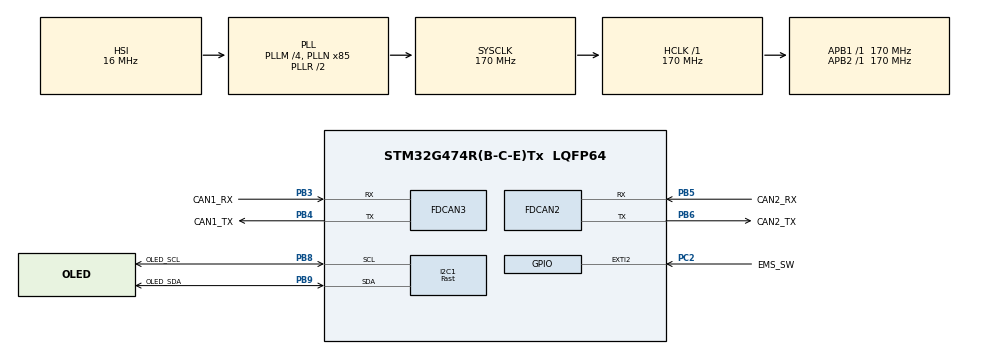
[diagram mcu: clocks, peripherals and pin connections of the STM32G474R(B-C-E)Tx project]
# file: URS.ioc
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FDCAN2.AutoRetransmission=ENABLE
FDCAN2.CalculateBaudRateNominal=1000000
FDCAN2.CalculateTimeBitNominal=1000
FDCAN2.CalculateTimeQuantumNominal=58.8235294117647
FDCAN2.ClockDivider=FDCAN_CLOCK_DIV1
FDCAN2.DataPrescaler=10
FDCAN2.DataSyncJumpWidth=3
FDCAN2.DataTimeSeg1=13
FDCAN2.DataTimeSeg2=3
FDCAN2.ExtFiltersNbr=0
FDCAN2.FrameFormat=FDCAN_FRAME_CLASSIC
FDCAN2.Mode=FDCAN_MODE_NORMAL
FDCAN2.NominalPrescaler=10
FDCAN2.NominalSyncJumpWidth=3
FDCAN2.NominalTimeSeg1=13
FDCAN2.NominalTimeSeg2=3
FDCAN2.ProtocolException=DISABLE
FDCAN2.StdFiltersNbr=8
FDCAN2.TransmitPause=ENABLE
FDCAN2.TxFifoQueueMode=FDCAN_TX_FIFO_OPERATION
FDCAN3.AutoRetransmission=ENABLE
FDCAN3.CalculateBaudRateNominal=1000000
FDCAN3.CalculateTimeBitNominal=1000
FDCAN3.CalculateTimeQuantumNominal=58.8235294117647
FDCAN3.ClockDivider=FDCAN_CLOCK_DIV1
FDCAN3.DataPrescaler=10
FDCAN3.DataSyncJumpWidth=3
FDCAN3.DataTimeSeg1=13
FDCAN3.DataTimeSeg2=3
FDCAN3.ExtFiltersNbr=0
FDCAN3.FrameFormat=FDCAN_FRAME_CLASSIC
FDCAN3.Mode=FDCAN_MODE_NORMAL
FDCAN3.NominalPrescaler=10
FDCAN3.NominalSyncJumpWidth=3
FDCAN3.NominalTimeSeg1=13
FDCAN3.NominalTimeSeg2=3
FDCAN3.ProtocolException=DISABLE
FDCAN3.StdFiltersNbr=8
FDCAN3.TransmitPause=ENABLE
FDCAN3.TxFifoQueueMode=FDCAN_TX_FIFO_OPERATION
I2C1.AddressingMode=I2C_ADDRESSINGMODE_7BIT
I2C1.Analog_Filter=I2C_ANALOGFILTER_ENABLE
I2C1.CustomTiming=Enabled
I2C1.DualAddressMode=I2C_DUALADDRESS_DISABLE
I2C1.GeneralCallMode=I2C_GENERALCALL_DISABLE
I2C1.I2C_Speed_Mode=I2C_Fast
I2C1.NoStretchMode=I2C_NOSTRETCH_DISABLE
I2C1.OwnAddress=0
I2C1.Speed=400
I2C1.Timing=0x00C0216C
Mcu.Family=STM32G4
Mcu.Name=STM32G474R(B-C-E)Tx
Mcu.Package=LQFP64
NUCLEO-G474RE.BUTTON=1
NUCLEO-G474RE.Bsp_Common_DEMO=true
NUCLEO-G474RE.LD2=true
NUCLEO-G474RE.VCP=true
NVIC.EXTI2_IRQn=true\:0\:0\:false\:false\:true\:true\:true\:true
NVIC.EXTI15_10_IRQn=true\:0\:0\:false\:false\:true\:false\:true\:true
NVIC.FDCAN2_IT0_IRQn=true\:1\:0\:false\:false\:true\:true\:true\:true
NVIC.FDCAN3_IT0_IRQn=true\:1\:0\:false\:false\:true\:true\:true\:true
NVIC.LPUART1_IRQn=true\:6\:0\:true\:false\:true\:true\:true\:true
NVIC.PriorityGroup=NVIC_PRIORITYGROUP_4
PA13.GPIO_Label=T_SWDIO
PA13.Signal=SYS_JTMS-SWDIO
PA14.GPIO_Label=T_SWCLK
PA14.Signal=SYS_JTCK-SWCLK
PA2.Signal=LPUART1_TX
PA3.Signal=LPUART1_RX
PB3.GPIO_Label=CAN1_RX
PB3.GPIO_Speed=GPIO_SPEED_FREQ_VERY_HIGH
PB3.Mode=FDCAN_Activate
PB3.Signal=FDCAN3_RX
PB4.GPIO_Label=CAN1_TX
PB4.GPIO_Speed=GPIO_SPEED_FREQ_VERY_HIGH
PB4.Mode=FDCAN_Activate
PB4.Signal=FDCAN3_TX
PB5.GPIO_Label=CAN2_RX
PB5.GPIO_Speed=GPIO_SPEED_FREQ_VERY_HIGH
PB5.Mode=FDCAN_Activate
PB5.Signal=FDCAN2_RX
PB6.GPIO_Label=CAN2_TX
PB6.GPIO_Speed=GPIO_SPEED_FREQ_VERY_HIGH
PB6.Mode=FDCAN_Activate
PB6.Signal=FDCAN2_TX
PB8-BOOT0.GPIO_Label=OLED_SCL
PB8-BOOT0.GPIO_Speed=GPIO_SPEED_FREQ_HIGH
PB8-BOOT0.Mode=I2C
PB8-BOOT0.Signal=I2C1_SCL
PB9.GPIO_Label=OLED_SDA
PB9.GPIO_Speed=GPIO_SPEED_FREQ_HIGH
PB9.Mode=I2C
PB9.Signal=I2C1_SDA
PC2.GPIO_Label=EMS_SW
PC2.GPIO_ModeDefaultEXTI=GPIO_MODE_IT_RISING_FALLING
PC2.Signal=GPXTI2
PC14-OSC32_IN.GPIO_Label=RCC_OSC32_IN
PC14-OSC32_IN.Signal=RCC_OSC32_IN
PC15-OSC32_OUT.GPIO_Label=RCC_OSC32_OUT
PC15-OSC32_OUT.Signal=RCC_OSC32_OUT
PF0-OSC_IN.GPIO_Label=RCC_OSC_IN
PF0-OSC_IN.Signal=RCC_OSC_IN
PF1-OSC_OUT.GPIO_Label=RCC_OSC_OUT
PF1-OSC_OUT.Signal=RCC_OSC_OUT
ProjectManager.HeapSize=0x200
ProjectManager.StackSize=0x400
ProjectManager.TargetToolchain=CMake
RCC.ADC12Freq_Value=170000000
RCC.ADC345Freq_Value=170000000
RCC.AHBFreq_Value=170000000
RCC.APB1Freq_Value=170000000
RCC.APB1TimFreq_Value=170000000
RCC.APB2Freq_Value=170000000
RCC.APB2TimFreq_Value=170000000
RCC.CortexFreq_Value=170000000
RCC.EXTERNAL_CLOCK_VALUE=12288000
RCC.HCLKFreq_Value=170000000
RCC.HSE_VALUE=24000000
RCC.HSI48_VALUE=48000000
RCC.HSI_VALUE=16000000
RCC.LSE_VALUE=32768
RCC.PLLM=RCC_PLLM_DIV4
RCC.PLLN=85
RCC.RTCClockSelection=RCC_RTCCLKSOURCE_LSE
RCC.SYSCLKFreq_VALUE=170000000
RCC.SYSCLKSource=RCC_SYSCLKSOURCE_PLLCLK
RCC.USBFreq_Value=48000000
RCC.VCOOutputFreq_Value=340000000
VP_NUCLEO-G474RE_VS_BSP_COMMON.Mode=COMMON
VP_SYS_VS_DBSignals.Mode=DisableDeadBatterySignals
board=NUCLEO-G474RE

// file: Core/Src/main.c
/* USER CODE BEGIN Header */
/**
  ******************************************************************************
  * @file           : main.c
  * @brief          : Main program body
  ******************************************************************************
  * @attention
  *
  * Copyright (c) 2026 STMicroelectronics.
  * All rights reserved.
  *
  * This software is licensed under terms that can be found in the LICENSE file
  * in the root directory of this software component.
  * If no LICENSE file comes with this software, it is provided AS-IS.
  *
  ******************************************************************************
  */
/* USER CODE END Header */
#include "main.h"

/* USER CODE BEGIN Includes */
#include "motor_can.h"
#include "serial_command.h"
#include "ssd1306_status.h"

/* USER CODE END Includes */

/* 硬體 CAN2 使用 FDCAN2；硬體 CAN1 使用 FDCAN3。 */
FDCAN_HandleTypeDef hfdcan2;
FDCAN_HandleTypeDef hfdcan3;

/* OLED 顯示器使用 I2C1。 */
I2C_HandleTypeDef hi2c1;

COM_InitTypeDef BspCOMInit;
__IO uint32_t BspButtonState = BUTTON_RELEASED;

/* USER CODE BEGIN PV */
/*
 * EMS 狀態由 EXTI callback 更新，主迴圈與 UART callback 讀取，所以必須 volatile。
 * HIGH 代表立即停止；HIGH->LOW 後仍保持 command block，直到主迴圈清除 MotorCAN
 * state、CAN RX queue 與 serial RX parser，避免 EMS 期間殘留的命令在釋放後執行。
 */
static volatile uint8_t ems_stop_active;
static volatile uint8_t ems_release_cleanup_pending;
/* 每次 EMS 釋放只清一次 serial RX，之後仍允許 PING/HELP/STATUS。 */
static volatile uint8_t ems_serial_cleanup_pending;
/* USER CODE END PV */

void SystemClock_Config(void);
static void MX_FDCAN2_Init(void);
static void MX_FDCAN3_Init(void);
static void MX_I2C1_Init(void);
static void MX_GPIO_Init(void);

int main(void)
{

  /* MCU Configuration--------------------------------------------------------*/

  /* Reset of all peripherals, Initializes the Flash interface and the Systick. */
  HAL_Init();

  /* Configure the system clock */
  SystemClock_Config();

  /* Initialize all configured peripherals */
  MX_GPIO_Init();
  MX_FDCAN2_Init();
  MX_FDCAN3_Init();
  MX_I2C1_Init();
  /* USER CODE BEGIN 2 */

  /*
   * 專案刻意用邏輯 bus 編號隔離 MCU peripheral 名稱：
   *   bus 1 -> FDCAN3 -> PCB CAN1 接頭
   *   bus 2 -> FDCAN2 -> PCB CAN2 接頭
   * 後續 serial 命令只看到 bus 1/2，不需要知道 STM32 instance 編號。
   */
  if (MotorCAN_Init(&hfdcan3, &hfdcan2) != MOTOR_CAN_STATUS_OK)
  {
    Error_Handler();
  }

  /* USER CODE END 2 */

  /* Initialize led */
  BSP_LED_Init(LED_GREEN);

  /* Initialize USER push-button, will be used to trigger an interrupt each time it's pressed.*/
  BSP_PB_Init(BUTTON_USER, BUTTON_MODE_EXTI);

  /* NUCLEO ST-LINK VCP 使用 COM1/LPUART1：PA2=TX、PA3=RX、115200 8N1。 */
  BspCOMInit.BaudRate   = 115200;
  BspCOMInit.WordLength = COM_WORDLENGTH_8B;
  BspCOMInit.StopBits   = COM_STOPBITS_1;
  BspCOMInit.Parity     = COM_PARITY_NONE;
  BspCOMInit.HwFlowCtl  = COM_HWCONTROL_NONE;
  if (BSP_COM_Init(COM1, &BspCOMInit) != BSP_ERROR_NONE)
  {
    Error_Handler();
  }
  if (Serial_Command_Init(&hcom_uart[COM1]) != HAL_OK)
  {
    Error_Handler();
  }
  SSD1306_Status_Init(&hi2c1);

  /* USER CODE BEGIN BSP */

  /* -- Sample board code to switch on led ---- */
  BSP_LED_On(LED_GREEN);

  /* USER CODE END BSP */

  /* Infinite loop */
  /* USER CODE BEGIN WHILE */
  while (1)
  {

    /* -- Sample board code for User push-button in interrupt mode ---- */
    if (BspButtonState == BUTTON_PRESSED)
    {
      /* Update button state */
      BspButtonState = BUTTON_RELEASED;
      /* -- Sample board code to toggle led ---- */
      BSP_LED_Toggle(LED_GREEN);

      /* ..... Perform your action ..... */
    }
    /* USER CODE END WHILE */

    /* USER CODE BEGIN 3 */
    /*
     * EMS 釋放採兩階段 handshake：ISR 只標記 cleanup pending；主迴圈才呼叫
     * 可能操作 FDCAN 與 queue 的清理函式。兩邊都清完後才解除 command block。
     */
    if (EMS_IsReleaseCleanupPending())
    {
      if (ems_serial_cleanup_pending)
      {
        Serial_Command_ClearPendingCommands();
        ems_serial_cleanup_pending = 0U;
      }
      if (MotorCAN_ClearPendingCommands())
      {
        EMS_CompleteReleaseCleanup();
      }
    }
    /*
     * 先處理 CAN/EMS，再解析 serial。若本輪剛收到 EMS，MotorCAN 可優先停止動作；
     * serial command 層則依 EMS_AreCommandsBlocked() 決定是否接受下一條命令。
     */
    MotorCAN_Process();
    Serial_Command_Process();
    SSD1306_Status_Process();
  }
  /* USER CODE END 3 */
}

void SystemClock_Config(void)
{
  RCC_OscInitTypeDef RCC_OscInitStruct = {0};
  RCC_ClkInitTypeDef RCC_ClkInitStruct = {0};

  /** Configure the main internal regulator output voltage
  */
  HAL_PWREx_ControlVoltageScaling(PWR_REGULATOR_VOLTAGE_SCALE1_BOOST);

  /** Initializes the RCC Oscillators according to the specified parameters
  * in the RCC_OscInitTypeDef structure.
  */
  RCC_OscInitStruct.OscillatorType = RCC_OSCILLATORTYPE_HSI;
  RCC_OscInitStruct.HSIState = RCC_HSI_ON;
  RCC_OscInitStruct.HSICalibrationValue = RCC_HSICALIBRATION_DEFAULT;
  RCC_OscInitStruct.PLL.PLLState = RCC_PLL_ON;
  RCC_OscInitStruct.PLL.PLLSource = RCC_PLLSOURCE_HSI;
  RCC_OscInitStruct.PLL.PLLM = RCC_PLLM_DIV4;
  RCC_OscInitStruct.PLL.PLLN = 85;
  RCC_OscInitStruct.PLL.PLLP = RCC_PLLP_DIV2;
  RCC_OscInitStruct.PLL.PLLQ = RCC_PLLQ_DIV2;
  RCC_OscInitStruct.PLL.PLLR = RCC_PLLR_DIV2;
  if (HAL_RCC_OscConfig(&RCC_OscInitStruct) != HAL_OK)
  {
    Error_Handler();
  }

  /** Initializes the CPU, AHB and APB buses clocks
  */
  RCC_ClkInitStruct.ClockType = RCC_CLOCKTYPE_HCLK|RCC_CLOCKTYPE_SYSCLK
                              |RCC_CLOCKTYPE_PCLK1|RCC_CLOCKTYPE_PCLK2;
  RCC_ClkInitStruct.SYSCLKSource = RCC_SYSCLKSOURCE_PLLCLK;
  RCC_ClkInitStruct.AHBCLKDivider = RCC_SYSCLK_DIV1;
  RCC_ClkInitStruct.APB1CLKDivider = RCC_HCLK_DIV1;
  RCC_ClkInitStruct.APB2CLKDivider = RCC_HCLK_DIV1;

  if (HAL_RCC_ClockConfig(&RCC_ClkInitStruct, FLASH_LATENCY_4) != HAL_OK)
  {
    Error_Handler();
  }
}

/**
  * @brief 初始化 FDCAN2，對應硬體上的 CAN2
  * @param 無
  * @retval 無
  */
static void MX_FDCAN2_Init(void)
{
  hfdcan2.Instance = FDCAN2;
  hfdcan2.Init.ClockDivider = FDCAN_CLOCK_DIV1;
  hfdcan2.Init.FrameFormat = FDCAN_FRAME_CLASSIC;
  hfdcan2.Init.Mode = FDCAN_MODE_NORMAL;
  hfdcan2.Init.AutoRetransmission = ENABLE;
  hfdcan2.Init.TransmitPause = ENABLE;
  hfdcan2.Init.ProtocolException = DISABLE;
  /* 170 MHz / (10 × (1 + 13 + 3)) = 1 Mbit/s，sample point 為 82.35%。 */
  hfdcan2.Init.NominalPrescaler = 10;
  hfdcan2.Init.NominalSyncJumpWidth = 3;
  hfdcan2.Init.NominalTimeSeg1 = 13;
  hfdcan2.Init.NominalTimeSeg2 = 3;
  /* Classic CAN 不使用 data phase；HAL 仍要求填入有效設定。 */
  hfdcan2.Init.DataPrescaler = 10;
  hfdcan2.Init.DataSyncJumpWidth = 3;
  hfdcan2.Init.DataTimeSeg1 = 13;
  hfdcan2.Init.DataTimeSeg2 = 3;
  hfdcan2.Init.StdFiltersNbr = 8;
  hfdcan2.Init.ExtFiltersNbr = 0;
  hfdcan2.Init.TxFifoQueueMode = FDCAN_TX_FIFO_OPERATION;
  if (HAL_FDCAN_Init(&hfdcan2) != HAL_OK)
  {
    Error_Handler();
  }
}

/**
  * @brief 初始化 FDCAN3，對應硬體上的 CAN1
  * @param 無
  * @retval 無
  */
static void MX_FDCAN3_Init(void)
{
  hfdcan3.Instance = FDCAN3;
  hfdcan3.Init.ClockDivider = FDCAN_CLOCK_DIV1;
  hfdcan3.Init.FrameFormat = FDCAN_FRAME_CLASSIC;
  hfdcan3.Init.Mode = FDCAN_MODE_NORMAL;
  hfdcan3.Init.AutoRetransmission = ENABLE;
  hfdcan3.Init.TransmitPause = ENABLE;
  hfdcan3.Init.ProtocolException = DISABLE;
  /* 170 MHz / (10 × (1 + 13 + 3)) = 1 Mbit/s，sample point 為 82.35%。 */
  hfdcan3.Init.NominalPrescaler = 10;
  hfdcan3.Init.NominalSyncJumpWidth = 3;
  hfdcan3.Init.NominalTimeSeg1 = 13;
  hfdcan3.Init.NominalTimeSeg2 = 3;
  /* Classic CAN 不使用 data phase；HAL 仍要求填入有效設定。 */
  hfdcan3.Init.DataPrescaler = 10;
  hfdcan3.Init.DataSyncJumpWidth = 3;
  hfdcan3.Init.DataTimeSeg1 = 13;
  hfdcan3.Init.DataTimeSeg2 = 3;
  hfdcan3.Init.StdFiltersNbr = 8;
  hfdcan3.Init.ExtFiltersNbr = 0;
  hfdcan3.Init.TxFifoQueueMode = FDCAN_TX_FIFO_OPERATION;
  if (HAL_FDCAN_Init(&hfdcan3) != HAL_OK)
  {
    Error_Handler();
  }
}

/**
  * @brief 初始化供 OLED 使用的 I2C1
  * @param 無
  * @retval 無
  */
static void MX_I2C1_Init(void)
{
  hi2c1.Instance = I2C1;
  /* Fast Mode 400 kHz；I2C kernel clock 170 MHz，tr=100 ns，tf=10 ns。 */
  hi2c1.Init.Timing = 0x00C0216C;
  hi2c1.Init.OwnAddress1 = 0;
  hi2c1.Init.AddressingMode = I2C_ADDRESSINGMODE_7BIT;
  hi2c1.Init.DualAddressMode = I2C_DUALADDRESS_DISABLE;
  hi2c1.Init.OwnAddress2 = 0;
  hi2c1.Init.OwnAddress2Masks = I2C_OA2_NOMASK;
  hi2c1.Init.GeneralCallMode = I2C_GENERALCALL_DISABLE;
  hi2c1.Init.NoStretchMode = I2C_NOSTRETCH_DISABLE;
  if (HAL_I2C_Init(&hi2c1) != HAL_OK)
  {
    Error_Handler();
  }
  if (HAL_I2CEx_ConfigAnalogFilter(&hi2c1, I2C_ANALOGFILTER_ENABLE) != HAL_OK)
  {
    Error_Handler();
  }
  if (HAL_I2CEx_ConfigDigitalFilter(&hi2c1, 0) != HAL_OK)
  {
    Error_Handler();
  }
}

static void MX_GPIO_Init(void)
{
  GPIO_InitTypeDef GPIO_InitStruct = {0};

  /* GPIO Ports Clock Enable */
  __HAL_RCC_GPIOC_CLK_ENABLE();
  __HAL_RCC_GPIOF_CLK_ENABLE();
  __HAL_RCC_GPIOA_CLK_ENABLE();
  __HAL_RCC_GPIOB_CLK_ENABLE();

  /* EMS_SW 由外部電路偏壓：常閉迴路正常時為 LOW，斷路或停止時為 HIGH。 */
  GPIO_InitStruct.Pin = EMS_SW_Pin;
  GPIO_InitStruct.Mode = GPIO_MODE_IT_RISING_FALLING;
  GPIO_InitStruct.Pull = GPIO_NOPULL;
  HAL_GPIO_Init(EMS_SW_GPIO_Port, &GPIO_InitStruct);

  /* EMS 是應用程式中優先權最高的外部輸入。 */
  HAL_NVIC_SetPriority(EXTI2_IRQn, 0, 0);
  HAL_NVIC_EnableIRQ(EXTI2_IRQn);

  /* USER CODE BEGIN MX_GPIO_Init_2 */
  /*
   * 上電時直接採用 EMS 腳位現況。若當下為 HIGH，serial 仍可傳送
   * PING/HELP/STATUS；其餘命令由 parser 回覆 EMS_ACTIVE。
   */
  ems_stop_active =
    (HAL_GPIO_ReadPin(EMS_SW_GPIO_Port, EMS_SW_Pin) == GPIO_PIN_SET) ? 1U : 0U;
  ems_release_cleanup_pending = 0U;
  ems_serial_cleanup_pending = 0U;
  /* USER CODE END MX_GPIO_Init_2 */
}

/* USER CODE BEGIN 4 */

/**
  * @brief 取得 EMS 目前是否處於停止狀態
  * @retval 1 表示 EMS 仍為 HIGH；0 表示 EMS 已釋放
  */
uint8_t EMS_IsStopActive(void)
{
  return ems_stop_active;
}

/**
  * @brief 判斷是否暫停接受新指令
  * @retval 1 表示 EMS 啟動中或釋放清理尚未完成
  */
uint8_t EMS_AreCommandsBlocked(void)
{
  /* 釋放後的短暫 cleanup window 也必須阻擋命令，避免 ISR 與主迴圈競態。 */
  return (ems_stop_active || ems_release_cleanup_pending) ? 1U : 0U;
}

/**
  * @brief 由韌體安全條件觸發並鎖定 EMS
  * @note 實體 EMS 必須按下再釋放，才會進入既有的 release cleanup 流程。
  */
void EMS_ActivateSoftwareStop(void)
{
  ems_stop_active = 1U;
  ems_release_cleanup_pending = 0U;
  ems_serial_cleanup_pending = 0U;
}

/**
  * @brief 判斷 EMS 釋放後是否尚未清除未完成指令
  * @retval 1 表示主迴圈必須執行清理
  */
uint8_t EMS_IsReleaseCleanupPending(void)
{
  return ems_release_cleanup_pending;
}

/**
  * @brief 通知 EMS 釋放清理已完成，可以接受新指令
  * @retval 無
  */
void EMS_CompleteReleaseCleanup(void)
{
  ems_release_cleanup_pending = 0U;
  ems_serial_cleanup_pending = 0U;
}

/**
  * @brief GPIO EXTI callback；同步 EMS 啟動與釋放狀態
  * @param GPIO_Pin 觸發中斷的 GPIO 腳位
  * @retval 無
  */
void HAL_GPIO_EXTI_Callback(uint16_t GPIO_Pin)
{
  if (GPIO_Pin == EMS_SW_Pin)
  {
    /*
     * 使用同一個 rising/falling callback 重新讀取 pin，而不依賴 edge 類型：
     * HIGH 立即封鎖控制；LOW 先要求主迴圈清理，清理完成後才恢復命令。
     */
    if (HAL_GPIO_ReadPin(EMS_SW_GPIO_Port, EMS_SW_Pin) == GPIO_PIN_SET)
    {
      ems_stop_active = 1U;
      ems_release_cleanup_pending = 0U;
      ems_serial_cleanup_pending = 0U;
    }
    else
    {
      ems_stop_active = 0U;
      ems_release_cleanup_pending = 1U;
      ems_serial_cleanup_pending = 1U;
    }
  }
}

/* USER CODE END 4 */

/**
  * @brief BSP Push Button callback
  * @param Button Specifies the pressed button
  * @retval None
  */
void BSP_PB_Callback(Button_TypeDef Button)
{
  if (Button == BUTTON_USER)
  {
    BspButtonState = BUTTON_PRESSED;
  }
}

void Error_Handler(void)
{
  __disable_irq();
  while (1)
  {
  }
}
